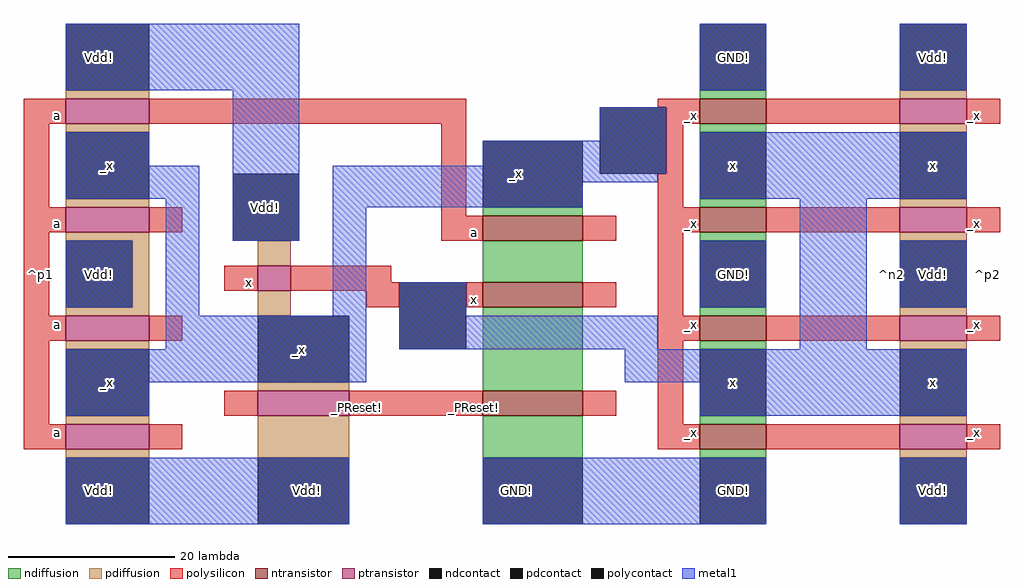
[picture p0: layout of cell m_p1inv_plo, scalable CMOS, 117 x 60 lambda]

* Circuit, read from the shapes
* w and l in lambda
.subckt m_p1inv_plo GND! Vdd! _PReset! _x a x
M1 n1 _PReset! GND! VSUBS nfet w=12 l=3
M2 n2 x n1 VSUBS nfet w=12 l=3
M3 _x a n2 VSUBS nfet w=12 l=3
M4 x _x GND! VSUBS nfet w=8 l=3 m=4
M5 _x a Vdd! NWELL pfet w=10 l=3 m=4
M6 _x _PReset! Vdd! NWELL pfet w=11 l=3
M7 Vdd! x _x NWELL pfet w=4 l=3
M8 x _x Vdd! NWELL pfet w=8 l=3 m=4
.ends

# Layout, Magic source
magic
tech scmos
<< ndiffusion >>
rect -47 25 -39 26
rect -73 11 -61 12
rect -47 21 -39 22
rect -47 12 -39 13
rect -73 3 -61 8
rect -73 -10 -61 0
rect -47 8 -39 9
rect -47 -1 -39 0
rect -73 -18 -61 -13
rect -47 -5 -39 -4
rect -47 -14 -39 -13
rect -47 -18 -39 -17
<< pdiffusion >>
rect -123 25 -113 26
rect -23 25 -15 26
rect -123 21 -113 22
rect -123 12 -113 13
rect -123 8 -113 9
rect -23 21 -15 22
rect -23 12 -15 13
rect -115 0 -113 8
rect -100 5 -96 8
rect -123 -1 -113 0
rect -100 -1 -96 2
rect -123 -5 -113 -4
rect -100 -10 -89 -9
rect -23 8 -15 9
rect -23 -1 -15 0
rect -123 -14 -113 -13
rect -123 -18 -113 -17
rect -100 -18 -89 -13
rect -23 -5 -15 -4
rect -23 -14 -15 -13
rect -23 -18 -15 -17
<< ntransistor >>
rect -47 22 -39 25
rect -73 8 -61 11
rect -47 9 -39 12
rect -73 0 -61 3
rect -47 -4 -39 -1
rect -73 -13 -61 -10
rect -47 -17 -39 -14
<< ptransistor >>
rect -123 22 -113 25
rect -123 9 -113 12
rect -23 22 -15 25
rect -23 9 -15 12
rect -100 2 -96 5
rect -123 -4 -113 -1
rect -23 -4 -15 -1
rect -100 -13 -89 -10
rect -123 -17 -113 -14
rect -23 -17 -15 -14
<< polysilicon >>
rect -128 22 -123 25
rect -113 22 -75 25
rect -52 24 -47 25
rect -128 12 -125 22
rect -128 9 -123 12
rect -113 9 -109 12
rect -128 -1 -125 9
rect -78 11 -75 22
rect -51 22 -47 24
rect -39 22 -23 25
rect -15 22 -11 25
rect -51 16 -49 22
rect -52 12 -49 16
rect -78 8 -73 11
rect -61 8 -57 11
rect -52 9 -47 12
rect -39 9 -23 12
rect -15 9 -11 12
rect -104 2 -100 5
rect -96 3 -84 5
rect -96 2 -83 3
rect -87 0 -83 2
rect -128 -4 -123 -1
rect -113 -4 -109 -1
rect -128 -14 -125 -4
rect -75 0 -73 3
rect -61 0 -57 3
rect -52 -1 -49 9
rect -52 -4 -47 -1
rect -39 -4 -23 -1
rect -15 -4 -11 -1
rect -104 -13 -100 -10
rect -89 -13 -73 -10
rect -61 -13 -57 -10
rect -128 -17 -123 -14
rect -113 -17 -109 -14
rect -52 -14 -49 -4
rect -52 -17 -47 -14
rect -39 -17 -23 -14
rect -15 -17 -11 -14
<< ndcontact >>
rect -47 26 -39 34
rect -73 12 -61 20
rect -47 13 -39 21
rect -47 0 -39 8
rect -47 -13 -39 -5
rect -73 -26 -61 -18
rect -47 -26 -39 -18
<< pdcontact >>
rect -123 26 -113 34
rect -23 26 -15 34
rect -123 13 -113 21
rect -103 8 -95 16
rect -23 13 -15 21
rect -123 0 -115 8
rect -123 -13 -113 -5
rect -100 -9 -89 -1
rect -23 0 -15 8
rect -123 -26 -113 -18
rect -100 -26 -89 -18
rect -23 -13 -15 -5
rect -23 -26 -15 -18
<< polycontact >>
rect -59 16 -51 24
rect -83 -5 -75 3
<< metal1 >>
rect -123 26 -95 34
rect -47 26 -39 34
rect -23 26 -15 34
rect -123 17 -113 21
rect -123 13 -107 17
rect -123 0 -115 8
rect -111 -1 -107 13
rect -103 8 -95 26
rect -59 20 -51 24
rect -73 17 -51 20
rect -91 16 -51 17
rect -91 15 -52 16
rect -91 12 -61 15
rect -47 13 -15 21
rect -91 -1 -87 12
rect -111 -5 -87 -1
rect -83 -1 -75 3
rect -47 0 -39 8
rect -83 -5 -52 -1
rect -35 -5 -27 13
rect -23 0 -15 8
rect -123 -9 -87 -5
rect -56 -9 -15 -5
rect -123 -13 -113 -9
rect -47 -13 -15 -9
rect -123 -26 -89 -18
rect -73 -26 -39 -18
rect -23 -26 -15 -18
<< labels >>
rlabel metal1 -69 16 -69 16 1 _x
rlabel polysilicon -74 1 -74 1 1 x
rlabel polysilicon -74 9 -74 9 1 a
rlabel metal1 -69 -22 -69 -22 1 GND!
rlabel polysilicon -74 -12 -74 -12 1 _PReset!
rlabel polysilicon -124 -15 -124 -15 5 a
rlabel polysilicon -124 -2 -124 -2 5 a
rlabel metal1 -119 -22 -119 -22 1 Vdd!
rlabel polysilicon -124 23 -124 23 1 a
rlabel polysilicon -124 10 -124 10 1 a
rlabel metal1 -119 30 -119 30 5 Vdd!
rlabel metal1 -119 4 -119 4 1 Vdd!
rlabel metal1 -118 -9 -118 -9 5 _x
rlabel metal1 -118 17 -118 17 1 _x
rlabel metal1 -94 -22 -94 -22 1 Vdd!
rlabel polysilicon -88 -12 -88 -12 1 _PReset!
rlabel metal1 -95 -5 -95 -5 1 _x
rlabel polysilicon -101 3 -101 3 1 x
rlabel pdcontact -19 -9 -19 -9 5 x
rlabel pdcontact -19 -22 -19 -22 1 Vdd!
rlabel polysilicon -14 -15 -14 -15 5 _x
rlabel polysilicon -14 -2 -14 -2 5 _x
rlabel polysilicon -48 -15 -48 -15 3 _x
rlabel polysilicon -48 -2 -48 -2 3 _x
rlabel ndcontact -43 -22 -43 -22 1 GND!
rlabel ndcontact -43 -9 -43 -9 5 x
rlabel pdcontact -19 4 -19 4 1 Vdd!
rlabel pdcontact -19 17 -19 17 1 x
rlabel pdcontact -19 30 -19 30 5 Vdd!
rlabel polysilicon -14 23 -14 23 1 _x
rlabel polysilicon -14 10 -14 10 1 _x
rlabel polysilicon -48 23 -48 23 3 _x
rlabel polysilicon -48 10 -48 10 3 _x
rlabel ndcontact -43 30 -43 30 5 GND!
rlabel ndcontact -43 4 -43 4 1 GND!
rlabel ndcontact -43 17 -43 17 1 x
rlabel metal1 -99 12 -99 12 1 Vdd!
rlabel space -15 -26 -10 34 3 ^p2
rlabel space -39 -27 -9 35 3 ^n2
rlabel space -129 -26 -123 34 7 ^p1
<< end >>
